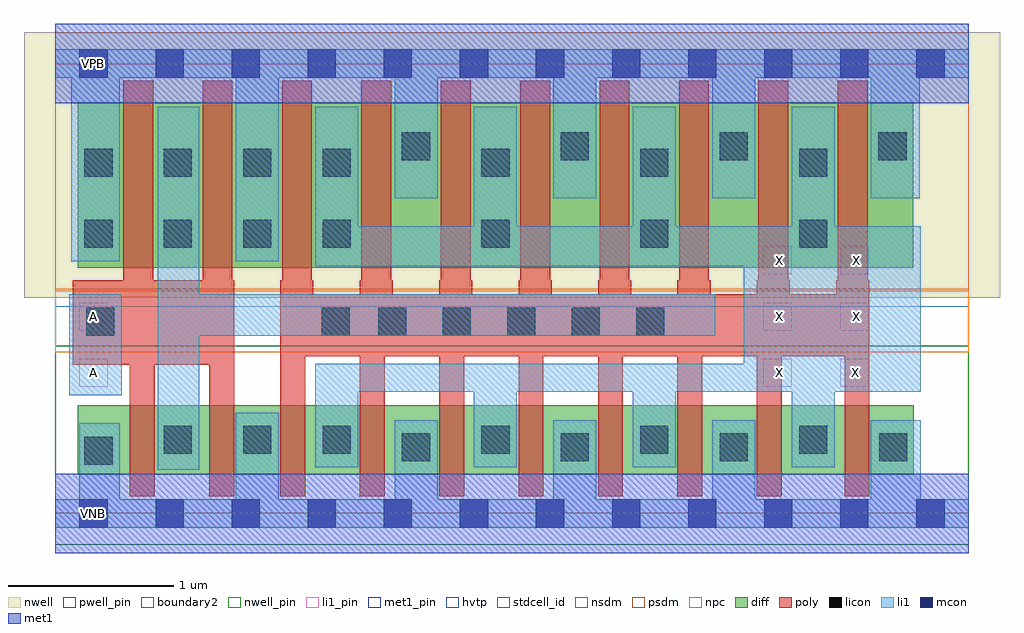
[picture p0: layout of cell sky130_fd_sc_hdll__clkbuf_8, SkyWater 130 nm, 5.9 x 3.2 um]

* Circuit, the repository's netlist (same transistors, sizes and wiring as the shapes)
* Copyright 2020 The SkyWater PDK Authors
*
* Licensed under the Apache License, Version 2.0 (the "License");
* you may not use this file except in compliance with the License.
* You may obtain a copy of the License at
*
*     https://www.apache.org/licenses/LICENSE-2.0
*
* Unless required by applicable law or agreed to in writing, software
* distributed under the License is distributed on an "AS IS" BASIS,
* WITHOUT WARRANTIES OR CONDITIONS OF ANY KIND, either express or implied.
* See the License for the specific language governing permissions and
* limitations under the License.
*
* SPDX-License-Identifier: Apache-2.0

.SUBCKT sky130_fd_sc_hdll__clkbuf_8 A VGND VNB VPB VPWR X
*.PININFO A:I VGND:I VNB:I VPB:I VPWR:I X:O
MMIN0 Ab A VGND VNB sky130_fd_pr__nfet_01v8 m=2 w=0.42U l=0.15U mult=1 sa=0.265
+ sb=0.265 sd=0.28 area=0.063 perim=1.14
MMIN1 X Ab VGND VNB sky130_fd_pr__nfet_01v8 m=8 w=0.42U l=0.15U mult=1 sa=0.265
+ sb=0.265 sd=0.28 area=0.063 perim=1.14
MMIP0 Ab A VPWR VPB sky130_fd_pr__pfet_01v8_hvt m=2 w=1.0U l=0.18U mult=1 sa=0.265
+ sb=0.265 sd=0.28 area=0.063 perim=1.14
MMIP1 X Ab VPWR VPB sky130_fd_pr__pfet_01v8_hvt m=8 w=1.0U l=0.18U mult=1 sa=0.265
+ sb=0.265 sd=0.28 area=0.063 perim=1.14
.ENDS sky130_fd_sc_hdll__clkbuf_8

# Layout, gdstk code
import gdstk
lib = gdstk.Library(unit=1e-6, precision=1e-09)
def R(c, l, rs):  # rectangles x0, y0, x1, y1
    for r in rs: c.add(gdstk.rectangle(r[:2], r[2:], *l))
def A(c, l, x, y, w, h, nx, ny, dx, dy):  # array of equal rectangles
    R(c, l, [(x+i*dx, y+j*dy, x+i*dx+w, y+j*dy+h) for i in range(nx) for j in range(ny)])
def P(c, l, *ps):  # polygons
    for p in ps: c.add(gdstk.Polygon(p, *l))
nwell_pin = (64, 16)
nwell = (64, 20)
diff = (65, 20)
poly = (66, 20)
licon = (66, 44)
li1_pin = (67, 16)
li1 = (67, 20)
mcon = (67, 44)
met1_pin = (68, 16)
met1 = (68, 20)
hvtp = (78, 44)
stdcell_id = (81, 4)
nsdm = (93, 44)
psdm = (94, 20)
npc = (95, 20)
pwell_pin = (122, 16)
boundary2 = (236, 0)

sky130_fd_sc_hdll__clkbu = lib.new_cell('sky130_fd_sc_hdll__clkbuf_8')
R(sky130_fd_sc_hdll__clkbu, nwell_pin, [(0.145,2.635,0.315,2.805)])
R(sky130_fd_sc_hdll__clkbu, nwell, [(-0.19,1.305,5.71,2.91)])
R(sky130_fd_sc_hdll__clkbu, diff, [(0.135,0.235,5.19,0.655), (0.135,1.485,5.185,2.485)])
P(sky130_fd_sc_hdll__clkbu, poly, [(1.08,1.41),(1.07,1.41),(1.07,2.615),(0.89,2.615),(0.89,1.41),(0.59,1.41),(0.59,2.615),(0.41,2.615),(0.41,1.41),(0.105,1.41),(0.105,0.9),(0.45,0.9),(0.45,0.105),(0.6,0.105),(0.6,0.9),(0.93,0.9),(0.93,0.105),(1.08,0.105)],
  [(4.92,1.41),(4.91,1.41),(4.91,2.615),(4.73,2.615),(4.73,1.41),(4.72,1.41),(4.72,1.325),(4.44,1.325),(4.44,1.41),(4.43,1.41),(4.43,2.615),(4.25,2.615),(4.25,1.41),(4.24,1.41),(4.24,1.325),(3.96,1.325),(3.96,1.41),(3.95,1.41),(3.95,2.615),(3.77,2.615),(3.77,1.41),(3.76,1.41),(3.76,1.325),(3.48,1.325),(3.48,1.41),(3.47,1.41),(3.47,2.615),(3.29,2.615),(3.29,1.41),(3.28,1.41),(3.28,1.325),(3,1.325),(3,1.41),(2.99,1.41),(2.99,2.615),(2.81,2.615),(2.81,1.41),(2.8,1.41),(2.8,1.325),(2.52,1.325),(2.52,1.41),(2.51,1.41),(2.51,2.615),(2.33,2.615),(2.33,1.41),(2.32,1.41),(2.32,1.325),(2.04,1.325),(2.04,1.41),(2.03,1.41),(2.03,2.615),(1.85,2.615),(1.85,1.41),(1.84,1.41),(1.84,1.325),(1.56,1.325),(1.56,1.41),(1.55,1.41),(1.55,2.615),(1.37,2.615),(1.37,1.41),(1.36,1.41),(1.36,0.105),(1.51,0.105),(1.51,0.95),(1.84,0.95),(1.84,0.105),(1.99,0.105),(1.99,0.95),(2.32,0.95),(2.32,0.105),(2.47,0.105),(2.47,0.95),(2.8,0.95),(2.8,0.105),(2.95,0.105),(2.95,0.95),(3.28,0.95),(3.28,0.105),(3.43,0.105),(3.43,0.95),(3.76,0.95),(3.76,0.105),(3.91,0.105),(3.91,0.95),(4.24,0.95),(4.24,0.105),(4.39,0.105),(4.39,0.95),(4.77,0.95),(4.77,0.105),(4.92,0.105)])
A(sky130_fd_sc_hdll__clkbu, licon, 2.095, 0.315, 0.17, 0.17, 3, 1, 0.96, 0)
A(sky130_fd_sc_hdll__clkbu, licon, 0.655, 0.36, 0.17, 0.17, 3, 1, 0.48, 0)
A(sky130_fd_sc_hdll__clkbu, licon, 2.575, 0.36, 0.17, 0.17, 3, 2, 0.96, 1.245)
A(sky130_fd_sc_hdll__clkbu, licon, 1.95, 1.075, 0.17, 0.17, 5, 1, 0.39, 0)
A(sky130_fd_sc_hdll__clkbu, licon, 0.175, 1.605, 0.17, 0.17, 4, 2, 0.48, 0.43)
A(sky130_fd_sc_hdll__clkbu, licon, 2.575, 2.035, 0.17, 0.17, 3, 1, 0.96, 0)
A(sky130_fd_sc_hdll__clkbu, licon, 2.095, 2.135, 0.17, 0.17, 4, 1, 0.96, 0)
R(sky130_fd_sc_hdll__clkbu, licon, [(0.175,0.295,0.345,0.465), (4.98,0.315,5.15,0.485), (0.185,1.075,0.355,1.245), (1.61,1.075,1.78,1.245)])
A(sky130_fd_sc_hdll__clkbu, li1_pin, 4.28, 0.765, 0.17, 0.17, 1, 3, 0, 0.34)
A(sky130_fd_sc_hdll__clkbu, li1_pin, 4.745, 0.765, 0.17, 0.17, 1, 3, 0, 0.34)
R(sky130_fd_sc_hdll__clkbu, li1_pin, [(0.145,0.765,0.315,0.935), (0.145,1.105,0.315,1.275)])
R(sky130_fd_sc_hdll__clkbu, li1, [(0,-0.085,5.52,0.085), (0.085,0.715,0.4,1.325), (0,2.635,5.52,2.805)])
P(sky130_fd_sc_hdll__clkbu, li1, [(5.52,2.805),(0,2.805),(0,2.635),(0.095,2.635),(0.095,1.525),(0.39,1.525),(0.39,2.635),(1.09,2.635),(1.09,1.525),(1.35,1.525),(1.35,2.635),(2.05,2.635),(2.05,1.905),(2.31,1.905),(2.31,2.635),(3.01,2.635),(3.01,1.905),(3.27,1.905),(3.27,2.635),(3.97,2.635),(3.97,1.905),(4.23,1.905),(4.23,2.635),(4.93,2.635),(4.93,1.905),(5.225,1.905),(5.225,2.635),(5.52,2.635)],
  [(5.52,0.085),(5.23,0.085),(5.23,0.565),(4.93,0.565),(4.93,0.085),(4.23,0.085),(4.23,0.565),(3.97,0.565),(3.97,0.085),(3.27,0.085),(3.27,0.565),(3.01,0.565),(3.01,0.085),(2.31,0.085),(2.31,0.565),(2.05,0.565),(2.05,0.085),(1.35,0.085),(1.35,0.61),(1.09,0.61),(1.09,0.085),(0.39,0.085),(0.39,0.545),(0.145,0.545),(0.145,0.085),(0,0.085),(0,-0.085),(5.52,-0.085)],
  [(3.99,1.325),(0.87,1.325),(0.87,2.46),(0.62,2.46),(0.62,0.265),(0.87,0.265),(0.87,1.075),(3.99,1.075)],
  [(5.23,1.735),(4.71,1.735),(4.71,2.46),(4.45,2.46),(4.45,1.735),(3.75,1.735),(3.75,2.46),(3.49,2.46),(3.49,1.735),(2.79,1.735),(2.79,2.46),(2.53,2.46),(2.53,1.735),(1.83,1.735),(1.83,2.46),(1.57,2.46),(1.57,1.495),(4.16,1.495),(4.16,0.905),(1.57,0.905),(1.57,0.28),(1.83,0.28),(1.83,0.735),(2.53,0.735),(2.53,0.28),(2.79,0.28),(2.79,0.735),(3.49,0.735),(3.49,0.28),(3.75,0.28),(3.75,0.735),(4.45,0.735),(4.45,0.28),(4.71,0.28),(4.71,0.735),(5.23,0.735)])
A(sky130_fd_sc_hdll__clkbu, mcon, 0.145, -0.085, 0.17, 0.17, 12, 2, 0.46, 2.72)
R(sky130_fd_sc_hdll__clkbu, met1_pin, [(0.145,-0.085,0.315,0.085), (0.145,2.635,0.315,2.805)])
R(sky130_fd_sc_hdll__clkbu, met1, [(0,-0.24,5.52,0.24), (0,2.48,5.52,2.96)])
R(sky130_fd_sc_hdll__clkbu, hvtp, [(0,1.25,5.52,2.72)])
R(sky130_fd_sc_hdll__clkbu, stdcell_id, [(0,0,5.52,2.72)])
R(sky130_fd_sc_hdll__clkbu, nsdm, [(0,-0.19,5.52,1.015)])
R(sky130_fd_sc_hdll__clkbu, psdm, [(0,1.355,5.52,2.91)])
R(sky130_fd_sc_hdll__clkbu, npc, [(0,0.975,5.52,1.345)])
R(sky130_fd_sc_hdll__clkbu, pwell_pin, [(0.145,-0.085,0.315,0.085)])
R(sky130_fd_sc_hdll__clkbu, boundary2, [(0,0,5.52,2.72)])
sky130_fd_sc_hdll__clkbu.add(gdstk.Label('X', (4.845,1.53), layer=67, texttype=5))
sky130_fd_sc_hdll__clkbu.add(gdstk.Label('X', (4.835,0.85), layer=67, texttype=5))
sky130_fd_sc_hdll__clkbu.add(gdstk.Label('A', (0.23,0.85), layer=67, texttype=5))
sky130_fd_sc_hdll__clkbu.add(gdstk.Label('X', (4.375,0.85), layer=67, texttype=5))
sky130_fd_sc_hdll__clkbu.add(gdstk.Label('X', (4.375,1.53), layer=67, texttype=5))
sky130_fd_sc_hdll__clkbu.add(gdstk.Label('X', (4.845,1.19), layer=67, texttype=5))
sky130_fd_sc_hdll__clkbu.add(gdstk.Label('A', (0.23,1.19), layer=67, texttype=5))
sky130_fd_sc_hdll__clkbu.add(gdstk.Label('X', (4.375,1.19), layer=67, texttype=5))
sky130_fd_sc_hdll__clkbu.add(gdstk.Label('VPB', (0.23,2.72), layer=64, texttype=5))
sky130_fd_sc_hdll__clkbu.add(gdstk.Label('VNB', (0.23,0), layer=64, texttype=59))
sky130_fd_sc_hdll__clkbu.add(gdstk.Label('VGND', (0.23,0), layer=68, texttype=5))
sky130_fd_sc_hdll__clkbu.add(gdstk.Label('VPWR', (0.23,2.72), layer=68, texttype=5))
sky130_fd_sc_hdll__clkbu.add(gdstk.Label('clkbuf_8', (0,0), layer=83, texttype=44))

lib.write_gds('sky130_fd_sc_hdll__clkbuf_8.gds')
